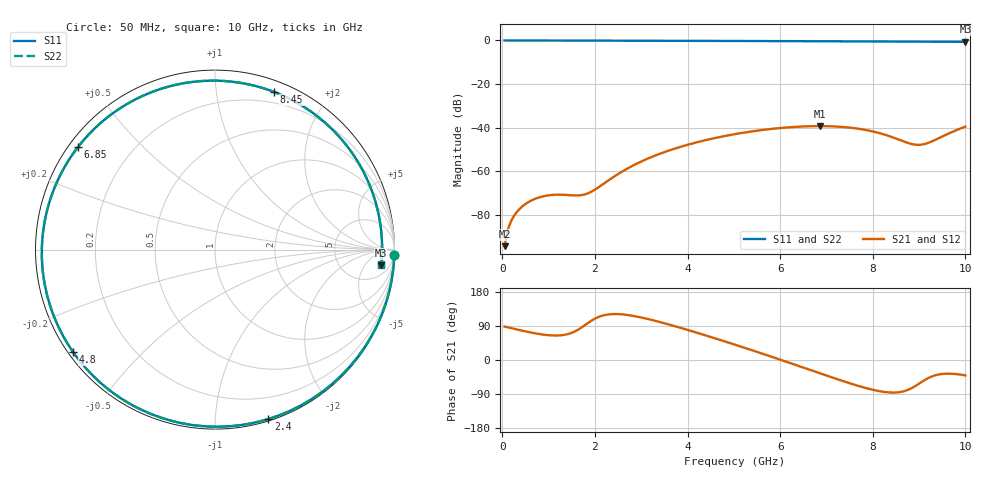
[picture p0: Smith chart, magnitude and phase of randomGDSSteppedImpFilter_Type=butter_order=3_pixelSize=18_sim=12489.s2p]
! freq	dB(S11)	phase(S11)	dB(S12)	phase(S12)
!  dB(S21)	phase(S21)	dB(S22)	phase(S22)
!S-par simulation data
#  GHz  S  DB  R 50
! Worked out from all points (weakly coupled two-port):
!   200 points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, 50 MHz to 10 GHz, reference 50 ohm
!   highest |S21| = -39.24 dB at 6.85 GHz (marker M1); lowest = -94.3 dB at 50 MHz (marker M2)
!   lowest |S11| = -0.6 dB at 10 GHz (marker M3), VSWR 27.70, Z = 520 - j670 ohm
!   |S11| at or under -10 dB: nowhere
!   |S22| runs from -0.6 to 0.0 dB; largest |S21 - S12| = 0
!   S11 on the Smith chart (normalised r, x): 50 MHz: 1, -73; 2.4 GHz: 0.02, -1.36; 4.8 GHz: 0.01, -0.32; 6.85 GHz: 0.03, +0.33; 8.45 GHz: 0.10, +1.44; 10 GHz: 10, -13
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0.05  -0.00 -1.6  -94.25 88.3  -94.25 88.3  -0.00 -1.6
0.25  -0.01 -7.7  -80.47 82.4  -80.47 82.4  -0.01 -7.7
0.5  -0.02 -15.4  -74.93 75.5  -74.93 75.5  -0.02 -15.4
0.85  -0.03 -26.1  -71.59 67.6  -71.59 67.6  -0.03 -26.1
1.75  -0.07 -53.3  -70.70 89.1  -70.70 89.1  -0.07 -53.3
1.95  -0.08 -59.2  -68.98 105.7  -68.98 105.7  -0.08 -59.2
2.4  -0.09 -72.6  -62.57 121.3  -62.57 121.3  -0.09 -72.5
3.4  -0.14 -102.0  -51.94 100.3  -51.94 100.3  -0.14 -101.9
4.1  -0.17 -122.7  -47.23 75.8  -47.23 75.8  -0.17 -122.6
4.8  -0.22 -144.1  -43.80 49.3  -43.80 49.3  -0.22 -144.0
5.05  -0.24 -152.0  -42.82 39.4  -42.82 39.4  -0.24 -151.9
5.9  -0.31 179.5  -40.33 5.1  -40.33 5.1  -0.31 179.6
6.7  -0.40 149.3  -39.28 -28.4  -39.28 -28.4  -0.40 149.5
6.85  -0.41 143.2  -39.24 -34.7  -39.24 -34.7  -0.41 143.4
7.65  -0.49 108.1  -40.32 -67.0  -40.32 -67.0  -0.49 108.4
8  -0.52 91.5  -41.68 -78.6  -41.68 -78.6  -0.52 91.9
8.35  -0.55 74.4  -43.79 -85.6  -43.79 -85.6  -0.55 74.8
8.45  -0.55 69.5  -44.53 -86.0  -44.53 -86.0  -0.55 69.8
8.85  -0.57 49.5  -47.50 -73.6  -47.50 -73.6  -0.57 49.9
9.05  -0.58 39.6  -47.74 -58.4  -47.74 -58.4  -0.58 40.0
9.5  -0.60 17.8  -44.02 -36.8  -44.02 -36.8  -0.60 18.2
10  -0.63 -5.3  -39.50 -40.6  -39.50 -40.6  -0.63 -4.9
